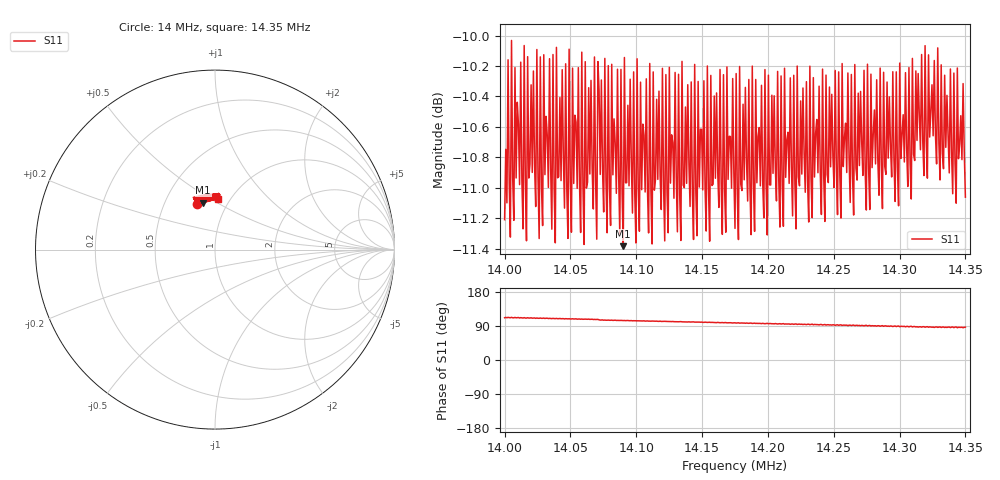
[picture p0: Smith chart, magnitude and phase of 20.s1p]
# Hz S RI R 50
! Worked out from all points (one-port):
!   401 points, 14 MHz to 14.35 MHz, reference 50 ohm
!   lowest |S11| = -11.4 dB at 14.09 MHz (marker M1), VSWR 1.74, Z = 38.5 + j21.7 ohm
!   |S11| at or under -10 dB: start of sweep to end of sweep
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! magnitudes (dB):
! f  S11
! 14 MHz  -11.2
! 14.01 MHz  -10.4
! 14.015 MHz  -10.1
! 14.019 MHz  -10.8
! 14.027 MHz  -10.1
! 14.031 MHz  -10.5
! 14.044 MHz  -10.2
! 14.049 MHz  -10.1
! 14.053 MHz  -10.5
! 14.068 MHz  -10.1
! 14.073 MHz  -10.9
! 14.079 MHz  -10.2
! 14.088 MHz  -11.3
! 14.088 MHz  -10.2
! 14.09 MHz  -11.4
! 14.11 MHz  -10.2
! 14.118 MHz  -10.9
! 14.123 MHz  -10.3
! 14.131 MHz  -11.3
! 14.144 MHz  -10.2
! 14.149 MHz  -10.6
! 14.154 MHz  -10.2
! 14.175 MHz  -11.3
! 14.219 MHz  -11.2
! 14.262 MHz  -11.1
! 14.306 MHz  -11.0
! 14.325 MHz  -10.7
! 14.35 MHz  -11.1
